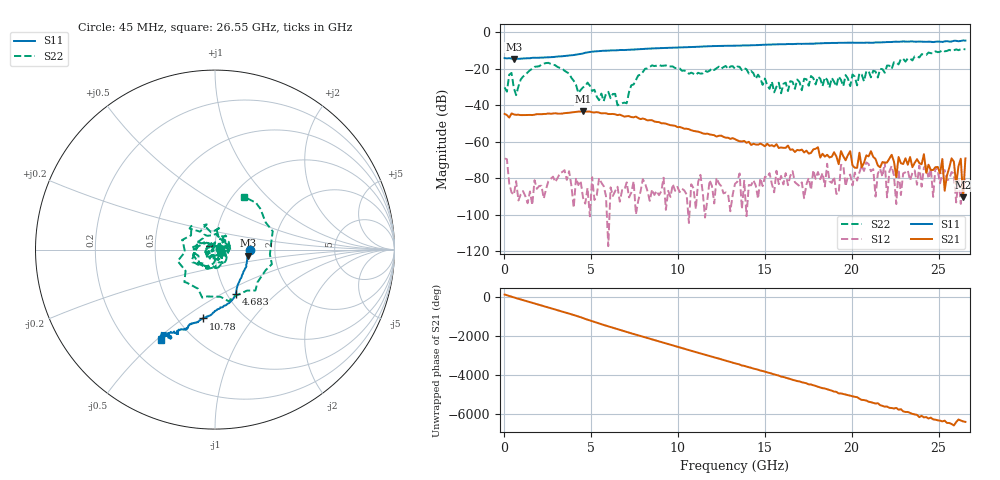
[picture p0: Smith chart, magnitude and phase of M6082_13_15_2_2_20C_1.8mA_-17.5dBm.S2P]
!  2-Port S-parameters saved by WinCal
! VAR MeasName=S-Parameters (CALIBRATED_DATA) read from VNA (C)
! VAR MeasDate=10/16/2015 12:38:15 PM
! VAR NAME=M6082_13_15_2_2_20C_1.8mA_-17.5dBm
! VAR FILENAME=M6082_13_15_2_2_20C_1.8mA_-17.5dBm.S2P
! VAR DATE=10/16/2015 12:38:15 PM
! VAR PHYS_PORTS=2,1
! VAR ObjTypeName=DATASET
! VAR IndexType=Frequency
# Hz S DB R 50
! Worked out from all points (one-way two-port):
!   201 points, 45 MHz to 26.55 GHz, reference 50 ohm
!   highest |S21| = -43.26 dB at 4.55 GHz (marker M1); lowest = -90.5 dB at 26.41 GHz (marker M2)
!   lowest |S11| = -14.6 dB at 575 MHz (marker M3), VSWR 1.46, Z = 72.1 - j5.07 ohm
!   |S11| at or under -10 dB: start of sweep to 6.22 GHz
!   |S22| runs from -40.1 to -9.2 dB; largest |S21 - S12| = 0.0069
!   S11 on the Smith chart (normalised r, x): 45 MHz: 1.48, -0.00; 4.683 GHz: 1.10, -0.59; 10.78 GHz: 0.66, -0.60; 26.55 GHz: 0.34, -0.52
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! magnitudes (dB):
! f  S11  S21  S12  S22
! 45 MHz  -14.2  -44.8  -69.2  -30.2
! 442.5 MHz  -14.5  -44.5  -87.7  -22.4
! 575 MHz  -14.6  -45.0  -89.0  -30.6
! 2.562 GHz  -13.8  -44.5  -81.6  -16.8
! 4.55 GHz  -11.7  -43.3  -90.5  -30.3
! 4.683 GHz  -11.3  -43.5  -93.9  -29.6
! 7.067 GHz  -9.7  -46.0  -82.2  -38.9
! 8.922 GHz  -8.8  -49.3  -89.3  -18.0
! 10.78 GHz  -8.2  -53.7  -83.3  -22.2
! 13.29 GHz  -7.4  -58.6  -83.1  -20.1
! 15.95 GHz  -6.6  -63.1  -78.7  -33.5
! 17.8 GHz  -6.3  -64.2  -75.5  -25.2
! 22.17 GHz  -5.4  -69.3  -76.3  -18.4
! 22.57 GHz  -5.2  -79.4  -94.1  -16.6
! 22.7 GHz  -5.3  -68.4  -75.2  -17.7
! 24.16 GHz  -5.3  -66.8  -74.1  -12.3
! 24.29 GHz  -5.3  -77.0  -73.1  -12.5
! 25.22 GHz  -5.4  -69.5  -77.3  -9.9
! 25.35 GHz  -5.1  -86.8  -75.5  -10.5
! 26.28 GHz  -4.8  -69.3  -94.0  -9.4
! 26.41 GHz  -4.6  -90.5  -80.0  -9.2
! 26.55 GHz  -4.6  -69.1  -81.1  -9.5
